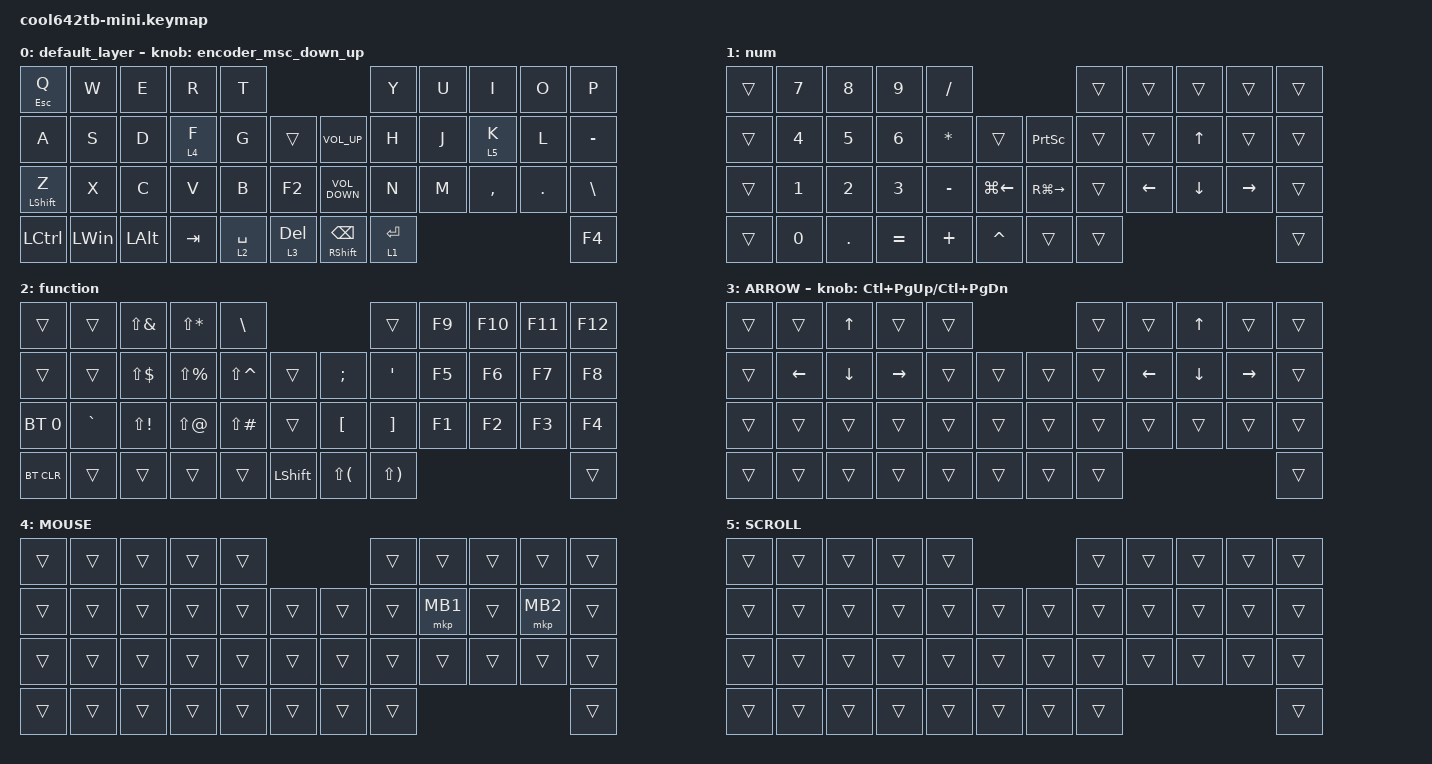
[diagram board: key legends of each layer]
#include <behaviors.dtsi>
#include <dt-bindings/zmk/bt.h>
#include <dt-bindings/zmk/keys.h>
#include <dt-bindings/zmk/pointing.h>

#define MOUSE 4
#define SCROLL 5
#define NUM 6
#define ZMK_POINTING_DEFAULT_SCRL_VAL 80

&mt {
    flavor = "balanced";
    quick-tap-ms = <0>;
};

/ {
    combos {
        compatible = "zmk,combos";

        shift_tab {
            bindings = <&kp LANG2>;
            key-positions = <12 13>;
        };

        lang {
            bindings = <&kp LANG1>;
            key-positions = <18 19>;
        };
    };

    behaviors {
        encoder_msc_down_up: encoder_msc_down_up {
            compatible = "zmk,behavior-sensor-rotate";
            label = "ENCODER_MSC_DOWN_UP";
            #sensor-binding-cells = <0>;
            bindings = <&msc SCRL_UP>, <&msc SCRL_DOWN>;

            tap-ms = <20>;
        };
    };

    keymap {
        compatible = "zmk,keymap";

        default_layer {
            bindings = <
&mt ESCAPE Q      &kp W         &kp E         &kp R    &kp T                                               &kp Y        &kp U  &kp I      &kp O       &kp P
&kp A             &kp S         &kp D         &lt 4 F  &kp G        &trans            &kp C_VOLUME_UP      &kp H        &kp J  &lt 5 K    &kp L       &kp MINUS
&mt LSHFT Z       &kp X         &kp C         &kp V    &kp B        &kp F2            &kp C_VOLUME_DOWN    &kp N        &kp M  &kp COMMA  &kp PERIOD  &kp BSLH
&kp LEFT_CONTROL  &kp LEFT_WIN  &kp LEFT_ALT  &kp TAB  &lt 2 SPACE  &lt 3 DELETE      &mt RSHFT BACKSPACE  &lt 1 ENTER                                &kp F4
            >;

            sensor-bindings = <&encoder_msc_down_up>;
        };

        num {
            bindings = <
&trans  &kp N7  &kp N8   &kp N9     &kp FSLH                                                &trans  &trans    &trans    &trans     &trans
&trans  &kp N4  &kp N5   &kp N6     &kp STAR   &trans                  &kp PSCRN            &trans  &trans    &kp UP    &trans     &trans
&trans  &kp N1  &kp N2   &kp N3     &kp MINUS  &kp LG(LEFT_ARROW)      &kp RG(RIGHT_ARROW)  &trans  &kp LEFT  &kp DOWN  &kp RIGHT  &trans
&trans  &kp N0  &kp DOT  &kp EQUAL  &kp PLUS   &kp CARET               &trans               &trans                                 &trans
            >;
        };

        function {
            bindings = <
&trans        &trans     &kp LS(AMPS)  &kp LS(STAR)   &kp BSLH                                    &trans        &kp F9  &kp F10  &kp F11  &kp F12
&trans        &trans     &kp LS(DLLR)  &kp LS(PRCNT)  &kp LS(CARET)  &trans         &kp SEMI      &kp SQT       &kp F5  &kp F6   &kp F7   &kp F8
&bt BT_SEL 0  &kp GRAVE  &kp LS(EXCL)  &kp LS(AT)     &kp LS(POUND)  &trans         &kp LBKT      &kp RBKT      &kp F1  &kp F2   &kp F3   &kp F4
&bt BT_CLR    &trans     &trans        &trans         &trans         &kp LSHFT      &kp LS(LPAR)  &kp LS(RPAR)                            &trans
            >;
        };

        ARROW {
            bindings = <
&trans  &trans          &kp UP_ARROW    &trans           &trans                      &trans  &trans          &kp UP_ARROW    &trans           &trans
&trans  &kp LEFT_ARROW  &kp DOWN_ARROW  &kp RIGHT_ARROW  &trans  &trans      &trans  &trans  &kp LEFT_ARROW  &kp DOWN_ARROW  &kp RIGHT_ARROW  &trans
&trans  &trans          &trans          &trans           &trans  &trans      &trans  &trans  &trans          &trans          &trans           &trans
&trans  &trans          &trans          &trans           &trans  &trans      &trans  &trans                                                   &trans
            >;

            sensor-bindings = <&inc_dec_kp LC(PAGE_UP) LC(PAGE_DOWN)>;
        };

        MOUSE {
            bindings = <
&trans  &trans  &trans  &trans  &trans                      &trans  &trans    &trans  &trans    &trans
&trans  &trans  &trans  &trans  &trans  &trans      &trans  &trans  &mkp MB1  &trans  &mkp MB2  &trans
&trans  &trans  &trans  &trans  &trans  &trans      &trans  &trans  &trans    &trans  &trans    &trans
&trans  &trans  &trans  &trans  &trans  &trans      &trans  &trans                              &trans
            >;
        };

        SCROLL {
            bindings = <
&trans  &trans  &trans  &trans  &trans                      &trans  &trans  &trans  &trans  &trans
&trans  &trans  &trans  &trans  &trans  &trans      &trans  &trans  &trans  &trans  &trans  &trans
&trans  &trans  &trans  &trans  &trans  &trans      &trans  &trans  &trans  &trans  &trans  &trans
&trans  &trans  &trans  &trans  &trans  &trans      &trans  &trans                          &trans
            >;
        };
    };
};
